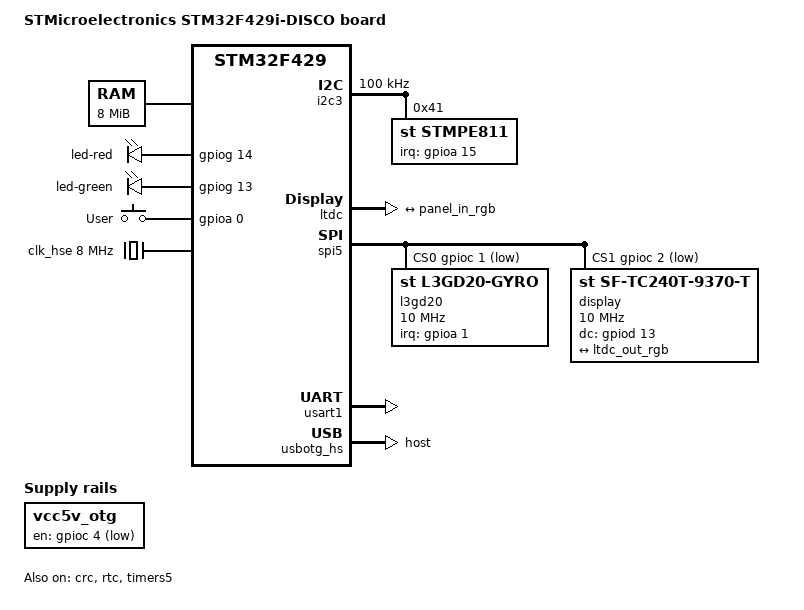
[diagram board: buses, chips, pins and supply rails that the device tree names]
// SPDX-License-Identifier: GPL-2.0+ OR X11
/*
 * Copyright 2015 - Maxime Coquelin <mcoquelin.stm32@gmail.com>
 */

/dts-v1/;
#include "stm32f429.dtsi"
#include "stm32f429-pinctrl.dtsi"
#include <dt-bindings/input/input.h>
#include <dt-bindings/interrupt-controller/irq.h>
#include <dt-bindings/gpio/gpio.h>

/ {
	model = "STMicroelectronics STM32F429i-DISCO board";
	compatible = "st,stm32f429i-disco", "st,stm32f429";

	chosen {
		bootargs = "root=/dev/ram";
		stdout-path = "serial0:115200n8";
	};

	memory@90000000 {
		device_type = "memory";
		reg = <0x90000000 0x800000>;
	};

	aliases {
		serial0 = &usart1;
	};

	leds {
		compatible = "gpio-leds";
		led-red {
			gpios = <&gpiog 14 0>;
		};
		led-green {
			gpios = <&gpiog 13 0>;
			linux,default-trigger = "heartbeat";
		};
	};

	gpio-keys {
		compatible = "gpio-keys";
		autorepeat;
		button-0 {
			label = "User";
			linux,code = <KEY_HOME>;
			gpios = <&gpioa 0 0>;
		};
	};

	/* This turns on vbus for otg for host mode (dwc2) */
	vcc5v_otg: vcc5v-otg-regulator {
		compatible = "regulator-fixed";
		gpio = <&gpioc 4 0>;
		regulator-name = "vcc5_host1";
		regulator-always-on;
	};
};

&clk_hse {
	clock-frequency = <8000000>;
};

&crc {
	status = "okay";
};

&i2c3 {
	pinctrl-names = "default";
	pinctrl-0 = <&i2c3_pins>;
	clock-frequency = <100000>;
	status = "okay";

	stmpe811@41 {
		compatible = "st,stmpe811";
		reg = <0x41>;
		interrupts = <15 IRQ_TYPE_EDGE_FALLING>;
		interrupt-parent = <&gpioa>;
		/* 3.25 MHz ADC clock speed */
		st,adc-freq = <1>;
		/* 12-bit ADC */
		st,mod-12b = <1>;
		/* internal ADC reference */
		st,ref-sel = <0>;
		/* ADC converstion time: 80 clocks */
		st,sample-time = <4>;

		stmpe_touchscreen {
			compatible = "st,stmpe-ts";
			/* 8 sample average control */
			st,ave-ctrl = <3>;
			/* 7 length fractional part in z */
			st,fraction-z = <7>;
			/*
			 * 50 mA typical 80 mA max touchscreen drivers
			 * current limit value
			 */
			st,i-drive = <1>;
			/* 1 ms panel driver settling time */
			st,settling = <3>;
			/* 5 ms touch detect interrupt delay */
			st,touch-det-delay = <5>;
		};

		stmpe_adc {
			compatible = "st,stmpe-adc";
			/* forbid to use ADC channels 3-0 (touch) */
			st,norequest-mask = <0x0F>;
		};
	};
};

&ltdc {
	status = "okay";
	pinctrl-0 = <&ltdc_pins_b>;
	pinctrl-names = "default";

	port {
		ltdc_out_rgb: endpoint {
			remote-endpoint = <&panel_in_rgb>;
		};
	};
};

&rtc {
	assigned-clocks = <&rcc 1 CLK_RTC>;
	assigned-clock-parents = <&rcc 1 CLK_LSI>;
	status = "okay";
};

&spi5 {
	status = "okay";
	pinctrl-0 = <&spi5_pins>;
	pinctrl-names = "default";
	#address-cells = <1>;
	#size-cells = <0>;
	cs-gpios = <&gpioc 1 GPIO_ACTIVE_LOW>, <&gpioc 2 GPIO_ACTIVE_LOW>;

	l3gd20: l3gd20@0 {
		compatible = "st,l3gd20-gyro";
		spi-max-frequency = <10000000>;
		st,drdy-int-pin = <2>;
		interrupt-parent = <&gpioa>;
		interrupts = <1 IRQ_TYPE_EDGE_RISING>,
				<2 IRQ_TYPE_EDGE_RISING>;
		reg = <0>;
		status = "okay";
	};

	display: display@1{
		/* Connect panel-ilitek-9341 to ltdc */
		compatible = "st,sf-tc240t-9370-t", "ilitek,ili9341";
		reg = <1>;
		spi-3wire;
		spi-max-frequency = <10000000>;
		dc-gpios = <&gpiod 13 0>;
		port {
			panel_in_rgb: endpoint {
			remote-endpoint = <&ltdc_out_rgb>;
			};
		};
	};
};

&timers5 {
	/* Override timer5 to act as clockevent */
	compatible = "st,stm32-timer";
	interrupts = <50>;
	status = "okay";
	/delete-property/#address-cells;
	/delete-property/#size-cells;
	/delete-property/clock-names;
	/delete-node/pwm;
	/delete-node/timer@4;
};

&usart1 {
	pinctrl-0 = <&usart1_pins_a>;
	pinctrl-names = "default";
	status = "okay";
};

&usbotg_hs {
	compatible = "st,stm32f4x9-fsotg";
	dr_mode = "host";
	pinctrl-0 = <&usbotg_fs_pins_b>;
	pinctrl-names = "default";
	status = "okay";
};
